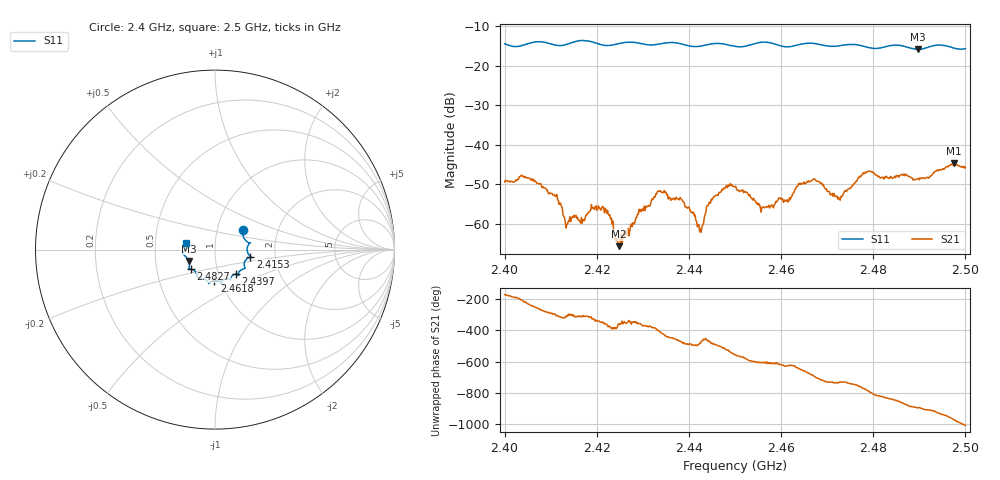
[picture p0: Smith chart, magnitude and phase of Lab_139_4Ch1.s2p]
# Hz S RI R 50
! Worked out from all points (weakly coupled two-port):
!   601 points, 2.4 GHz to 2.5 GHz, reference 50 ohm
!   highest |S21| = -44.78 dB at 2.4975 GHz (marker M1); lowest = -65.7 dB at 2.4248 GHz (marker M2)
!   lowest |S11| = -15.9 dB at 2.4897 GHz (marker M3), VSWR 1.38, Z = 36.9 - j4.82 ohm
!   |S11| at or under -10 dB: start of sweep to end of sweep
!   S12 and S22 are empty: the file has one direction only
!   S11 on the Smith chart (normalised r, x): 2.4 GHz: 1.33, +0.29; 2.4153 GHz: 1.48, -0.12; 2.4397 GHz: 1.21, -0.34; 2.4618 GHz: 0.94, -0.33; 2.4827 GHz: 0.75, -0.17; 2.5 GHz: 0.72, +0.06
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2.4e9  0.1552 0.1068  -0.00334 -0.00041  0 0  0 0
2.406333e9  0.1938 0.0376  -0.00124 0.00337  0 0  0 0
2.413333e9  0.1833 -0.0194  0.00056 0.000677  0 0  0 0
2.415333e9  0.197 -0.0396  0.000901 0.000878  0 0  0 0
2.416667e9  0.2026 -0.0437  0.000861 0.00083  0 0  0 0
2.4215e9  0.1707 -0.0589  0.00161 5.34e-05  0 0  0 0
2.424833e9  0.1643 -0.0956  0.000518 -1.9e-06  0 0  0 0
2.433333e9  0.1296 -0.1337  0.00193 -0.00171  0 0  0 0
2.439667e9  0.117 -0.1357  -0.00101 -0.0012  0 0  0 0
2.442667e9  0.0908 -0.1515  -0.000291 -0.00072  0 0  0 0
2.445333e9  0.0841 -0.1696  -0.00128 -0.00169  0 0  0 0
2.45e9  0.0654 -0.162  -0.00283 0.000791  0 0  0 0
2.456e9  0.0383 -0.1939  -0.000677 0.00145  0 0  0 0
2.461833e9  -0.00321 -0.173  -0.000212 0.00212  0 0  0 0
2.466667e9  -0.0348 -0.1883  0.00281 0.00208  0 0  0 0
2.472667e9  -0.0777 -0.1602  0.002 -0.000404  0 0  0 0
2.478333e9  -0.1001 -0.1407  0.00251 -0.00375  0 0  0 0
2.482667e9  -0.1348 -0.1086  -0.00137 -0.00357  0 0  0 0
2.483333e9  -0.14 -0.1082  -0.00167 -0.00337  0 0  0 0
2.489667e9  -0.147 -0.0636  -0.00369 -0.000318  0 0  0 0
2.4975e9  -0.1663 -0.00154  -0.00194 0.00543  0 0  0 0
2.5e9  -0.159 0.0385  0.00154 0.00494  0 0  0 0
